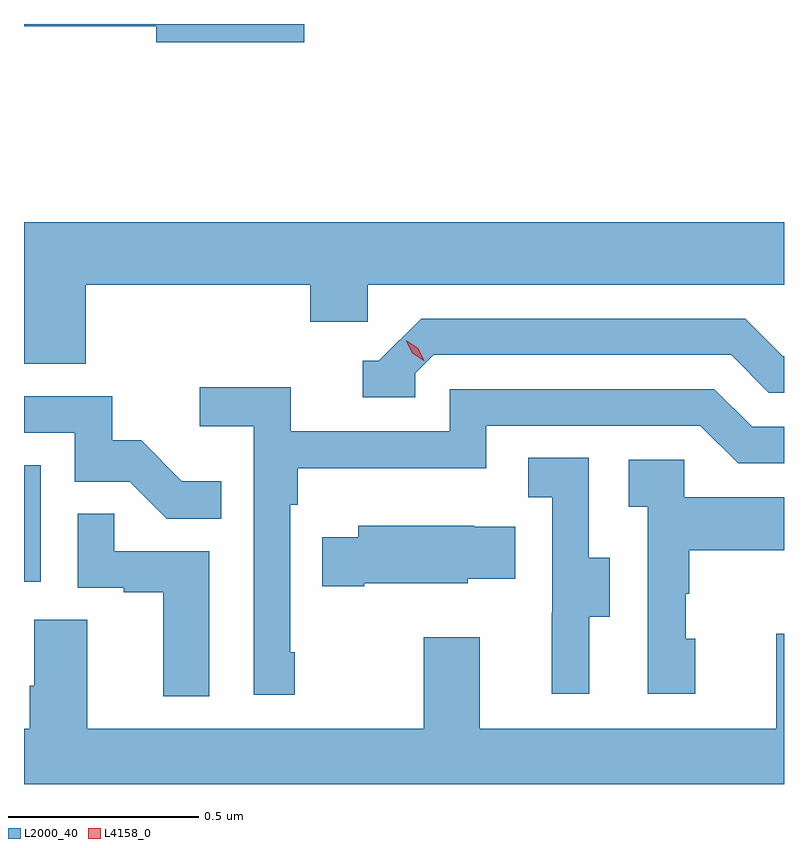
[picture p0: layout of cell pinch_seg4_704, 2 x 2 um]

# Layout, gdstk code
import gdstk
lib = gdstk.Library(unit=1e-6, precision=1e-09)
def R(c, l, rs):  # rectangles x0, y0, x1, y1
    for r in rs: c.add(gdstk.rectangle(r[:2], r[2:], *l))
def P(c, l, *ps):  # polygons
    for p in ps: c.add(gdstk.Polygon(p, *l))
L2000_40 = (2000, 40)
L4158_0 = (4158, 0)

pinch_seg4_704 = lib.new_cell('pinch_seg4_704')
R(pinch_seg4_704, L2000_40, [(1080.302,756.078,1080.346,756.385)])
P(pinch_seg4_704, L2000_40, [(1081.039,757.546),(1080.302,757.546),(1080.302,757.54),(1080.65,757.54),(1080.65,757.498),(1081.039,757.498)],
  [(1080.464,756.86),(1081.055,756.86),(1081.055,756.762),(1081.206,756.762),(1081.206,756.86),(1082.302,756.86),(1082.302,757.024),(1080.302,757.024),(1080.302,756.652),(1080.464,756.652)],
  [(1081.332,756.627),(1081.38,756.675),(1082.163,756.675),(1082.262,756.576),(1082.302,756.576),(1082.302,756.672),(1082.299,756.672),(1082.2,756.771),(1081.347,756.771),(1081.236,756.66),(1081.193,756.66),(1081.193,756.564),(1081.332,756.564)],
  [(1081.015,755.893),(1081.002,755.893),(1081.002,756.281),(1081.022,756.281),(1081.022,756.377),(1081.518,756.377),(1081.518,756.489),(1082.082,756.489),(1082.181,756.39),(1082.302,756.39),(1082.302,756.486),(1082.218,756.486),(1082.119,756.585),(1081.422,756.585),(1081.422,756.474),(1081.004,756.474),(1081.004,756.59),(1080.765,756.59),(1080.765,756.488),(1080.906,756.488),(1080.906,755.781),(1081.015,755.781)],
  [(1080.821,756.343),(1080.717,756.343),(1080.61,756.45),(1080.534,756.45),(1080.534,756.567),(1080.302,756.567),(1080.302,756.471),(1080.435,756.471),(1080.435,756.342),(1080.58,756.342),(1080.678,756.244),(1080.821,756.244)],
  [(1081.789,755.986),(1081.843,755.986),(1081.843,756.141),(1081.788,756.141),(1081.788,756.404),(1081.629,756.404),(1081.629,756.301),(1081.692,756.301),(1081.692,755.997),(1081.691,755.997),(1081.691,755.784),(1081.789,755.784)],
  [(1082.068,755.928),(1082.043,755.928),(1082.043,756.047),(1082.053,756.047),(1082.053,756.161),(1082.302,756.161),(1082.302,756.301),(1082.04,756.301),(1082.04,756.399),(1081.893,756.399),(1081.893,756.275),(1081.944,756.275),(1081.944,755.784),(1082.068,755.784)],
  [(1080.79,756.159),(1080.539,756.159),(1080.539,756.257),(1080.444,756.257),(1080.444,756.063),(1080.565,756.063),(1080.565,756.051),(1080.668,756.051),(1080.668,755.777),(1080.79,755.777)],
  [(1081.198,756.074),(1081.47,756.074),(1081.47,756.086),(1081.595,756.086),(1081.595,756.223),(1081.487,756.223),(1081.487,756.226),(1081.181,756.226),(1081.181,756.196),(1081.087,756.196),(1081.087,756.067),(1081.198,756.067)],
  [(1082.302,755.941),(1082.282,755.941),(1082.282,755.692),(1081.501,755.692),(1081.501,755.932),(1081.354,755.932),(1081.354,755.692),(1080.469,755.692),(1080.469,755.978),(1080.329,755.978),(1080.329,755.804),(1080.317,755.804),(1080.317,755.692),(1080.302,755.692),(1080.302,755.546),(1082.302,755.546)])
P(pinch_seg4_704, L4158_0, [(1081.354,756.66),(1081.324,756.68),(1081.308,756.712),(1081.308,756.713),(1081.309,756.713),(1081.339,756.693),(1081.355,756.66),(1081.355,756.66)])

lib.write_gds('pinch_seg4_704.gds')
